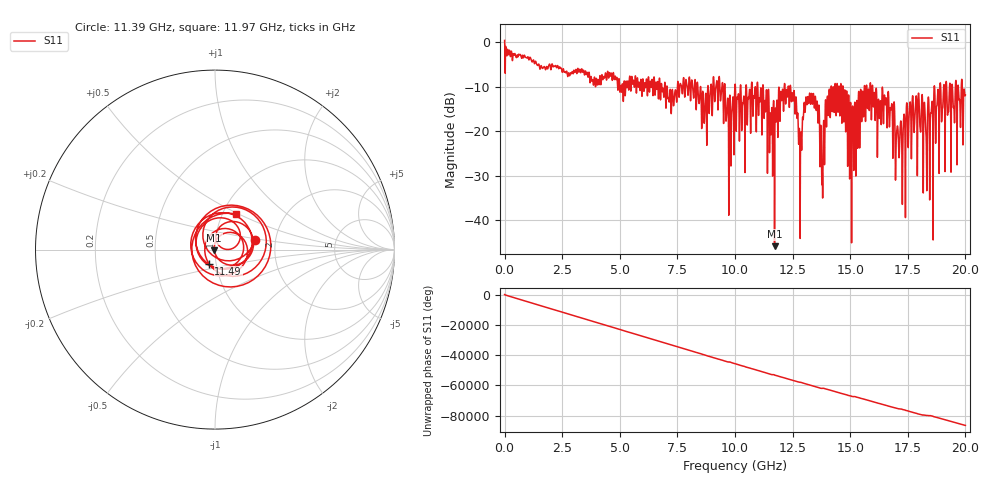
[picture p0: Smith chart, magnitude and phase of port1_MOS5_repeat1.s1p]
! MS46122B
! 2250307/22442219
! 7/23/2025 1:16:16 PM
! C:\USERS\SPARKY\DOCUMENTS\VNA_DATA\JULY23_2025\295K\PORT1_MOS5_REPEAT1.S1P
! CHANNEL.1
! TR.MEASUREMENT
! RAW.DATA
# GHZ S RI R 50.0
! FREQ.GHZ  S11RE  S11IM
!; PortSelection: Port_1
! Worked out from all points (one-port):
!   10001 points, 1 MHz to 20 GHz, reference 50 ohm
!   lowest |S11| = -45.8 dB at 11.72 GHz (marker M1), VSWR 1.01, Z = 49.6 - j0.329 ohm
!   |S11| at or under -10 dB: 12.41 GHz to 14.17 GHz (1.758 GHz wide, 13.2 % of centre); 14.69 GHz to 15.61 GHz (925.5 MHz wide, 6.11 % of centre); 15.97 GHz to 18.65 GHz (2.671 GHz wide, 15.4 % of centre) (the widest 3 of 72)
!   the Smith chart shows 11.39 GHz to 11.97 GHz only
!   S11 on the Smith chart (normalised r, x): 11.39 GHz: 1.56, +0.17; 11.49 GHz: 0.92, -0.14; 11.97 GHz: 1.15, +0.48
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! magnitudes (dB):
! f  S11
! 1 MHz  0.4
! 2.501 GHz  -6.7
! 5.001 GHz  -10.9
! 7.501 GHz  -10.1
! 8.709 GHz  -13.0
! 9.383 GHz  -12.7
! 9.797 GHz  -14.0
! 10 GHz  -9.5
! 11.39 GHz  -12.9
! 11.49 GHz  -21.4
! 11.72 GHz  -45.8
! 11.97 GHz  -12.8
! 12.5 GHz  -12.0
! 12.83 GHz  -38.4
! 13.24 GHz  -11.4
! 13.57 GHz  -13.3
! 13.79 GHz  -29.0
! 14.01 GHz  -12.3
! 14.26 GHz  -10.0
! 15 GHz  -15.4
! 15.79 GHz  -10.6
! 16.73 GHz  -15.7
! 17.05 GHz  -18.8
! 17.5 GHz  -19.7
! 18.04 GHz  -19.7
! 18.37 GHz  -13.6
! 18.73 GHz  -16.6
! 20 GHz  -11.9
